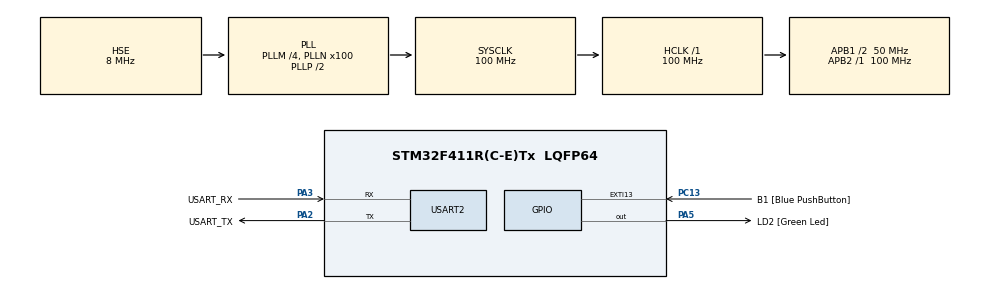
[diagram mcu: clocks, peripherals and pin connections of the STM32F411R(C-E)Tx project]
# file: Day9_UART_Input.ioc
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Mcu.Family=STM32F4
Mcu.Name=STM32F411R(C-E)Tx
Mcu.Package=LQFP64
NVIC.PriorityGroup=NVIC_PRIORITYGROUP_0
PA13.GPIO_Label=TMS
PA13.Mode=Serial_Wire
PA13.Signal=SYS_JTMS-SWDIO
PA14.GPIO_Label=TCK
PA14.Mode=Serial_Wire
PA14.Signal=SYS_JTCK-SWCLK
PA2.GPIO_Label=USART_TX
PA2.Mode=Asynchronous
PA2.Signal=USART2_TX
PA3.GPIO_Label=USART_RX
PA3.Mode=Asynchronous
PA3.Signal=USART2_RX
PA5.GPIO_Label=LD2 [Green Led]
PA5.Signal=GPIO_Output
PB3.GPIO_Label=SWO
PB3.Signal=SYS_JTDO-SWO
PC13-ANTI_TAMP.GPIO_Label=B1 [Blue PushButton]
PC13-ANTI_TAMP.GPIO_ModeDefaultEXTI=GPIO_MODE_IT_FALLING
PC13-ANTI_TAMP.Signal=GPXTI13
PC14-OSC32_IN.Mode=LSE-External-Oscillator
PC14-OSC32_IN.Signal=RCC_OSC32_IN
PC15-OSC32_OUT.Mode=LSE-External-Oscillator
PC15-OSC32_OUT.Signal=RCC_OSC32_OUT
PH0\ -\ OSC_IN.Mode=HSE-External-Clock-Source
PH0\ -\ OSC_IN.Signal=RCC_OSC_IN
PH1\ -\ OSC_OUT.Mode=HSE-External-Clock-Source
PH1\ -\ OSC_OUT.Signal=RCC_OSC_OUT
ProjectManager.HeapSize=0x200
ProjectManager.StackSize=0x400
ProjectManager.TargetToolchain=STM32CubeIDE
RCC.48MHZClocksFreq_Value=50000000
RCC.AHBFreq_Value=100000000
RCC.APB1CLKDivider=RCC_HCLK_DIV2
RCC.APB1Freq_Value=50000000
RCC.APB1TimFreq_Value=100000000
RCC.APB2Freq_Value=100000000
RCC.APB2TimFreq_Value=100000000
RCC.CortexFreq_Value=100000000
RCC.FLatency-AdvancedSettings=FLASH_LATENCY_3
RCC.HCLKFreq_Value=100000000
RCC.HSE_VALUE=8000000
RCC.HSI_VALUE=16000000
RCC.PLLM=4
RCC.PLLN=100
RCC.PLLSourceVirtual=RCC_PLLSOURCE_HSE
RCC.SYSCLKFreq_VALUE=100000000
RCC.SYSCLKSource=RCC_SYSCLKSOURCE_PLLCLK
RCC.VCOOutputFreq_Value=200000000
USART2.VirtualMode=VM_ASYNC
board=NUCLEO-F411RE

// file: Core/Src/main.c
/* USER CODE BEGIN Header */
/**
  ******************************************************************************
  * @file           : main.c
  * @brief          : Main program body
  ******************************************************************************
  * @attention
  *
  * Copyright (c) 2023 STMicroelectronics.
  * All rights reserved.
  *
  * This software is licensed under terms that can be found in the LICENSE file
  * in the root directory of this software component.
  * If no LICENSE file comes with this software, it is provided AS-IS.
  *
  ******************************************************************************
  */
/* USER CODE END Header */
#include "main.h"
#include <stdio.h>

UART_HandleTypeDef huart2;

void SystemClock_Config(void);
static void MX_GPIO_Init(void);
static void MX_USART2_UART_Init(void);
/* USER CODE BEGIN PFP */
int __io_putchar(int ch)
{
	HAL_UART_Transmit(&huart2, &ch, 1, 10);
	return ch;
}
int __io_getchar(void)
{
	int ch;
	while(1)
	{
		if(HAL_UART_Receive(&huart2, &ch, 1, 10) == HAL_OK)
		break;
	}
	if (ch == '\b' || ch == 0x7f)
	{
		HAL_UART_Transmit(&huart2, "\b \b", 3, 10); // \b \b : 총 세 글자이기때문에 3
	}
	else if(ch == '\n')
	{
		HAL_UART_Transmit(&huart2, "\r\n", 2, 10);
	}
	else HAL_UART_Transmit(&huart2, &ch, 1, 10);

	return ch;
}
/* USER CODE END PFP */

int main(void)
{

  /* MCU Configuration--------------------------------------------------------*/

  /* Reset of all peripherals, Initializes the Flash interface and the Systick. */
  HAL_Init();

  /* Configure the system clock */
  SystemClock_Config();

  /* Initialize all configured peripherals */
  MX_GPIO_Init();
  MX_USART2_UART_Init();
  /* USER CODE BEGIN 2 */
  printf("Program Start! \r\n");
  setbuf(stdin, NULL);
  /* USER CODE END 2 */

  /* Infinite loop */
  while (1)
  {

    /* USER CODE BEGIN 3 */
	int i;
	printf("Press numeric key and [Enter]....\r\n"); // 숫자 키를 입력하라고 프롬포트 내보내 줌.
	scanf("%d", &i);
	printf("You Pressed [%d] value.\r\n", i);
  }
  /* USER CODE END 3 */
}

void SystemClock_Config(void)
{
  RCC_OscInitTypeDef RCC_OscInitStruct = {0};
  RCC_ClkInitTypeDef RCC_ClkInitStruct = {0};

  /** Configure the main internal regulator output voltage
  */
  __HAL_RCC_PWR_CLK_ENABLE();
  __HAL_PWR_VOLTAGESCALING_CONFIG(PWR_REGULATOR_VOLTAGE_SCALE1);

  /** Initializes the RCC Oscillators according to the specified parameters
  * in the RCC_OscInitTypeDef structure.
  */
  RCC_OscInitStruct.OscillatorType = RCC_OSCILLATORTYPE_HSE;
  RCC_OscInitStruct.HSEState = RCC_HSE_BYPASS;
  RCC_OscInitStruct.PLL.PLLState = RCC_PLL_ON;
  RCC_OscInitStruct.PLL.PLLSource = RCC_PLLSOURCE_HSE;
  RCC_OscInitStruct.PLL.PLLM = 4;
  RCC_OscInitStruct.PLL.PLLN = 100;
  RCC_OscInitStruct.PLL.PLLP = RCC_PLLP_DIV2;
  RCC_OscInitStruct.PLL.PLLQ = 4;
  if (HAL_RCC_OscConfig(&RCC_OscInitStruct) != HAL_OK)
  {
    Error_Handler();
  }

  /** Initializes the CPU, AHB and APB buses clocks
  */
  RCC_ClkInitStruct.ClockType = RCC_CLOCKTYPE_HCLK|RCC_CLOCKTYPE_SYSCLK
                              |RCC_CLOCKTYPE_PCLK1|RCC_CLOCKTYPE_PCLK2;
  RCC_ClkInitStruct.SYSCLKSource = RCC_SYSCLKSOURCE_PLLCLK;
  RCC_ClkInitStruct.AHBCLKDivider = RCC_SYSCLK_DIV1;
  RCC_ClkInitStruct.APB1CLKDivider = RCC_HCLK_DIV2;
  RCC_ClkInitStruct.APB2CLKDivider = RCC_HCLK_DIV1;

  if (HAL_RCC_ClockConfig(&RCC_ClkInitStruct, FLASH_LATENCY_3) != HAL_OK)
  {
    Error_Handler();
  }
}

static void MX_USART2_UART_Init(void)
{

  huart2.Instance = USART2;
  huart2.Init.BaudRate = 115200;
  huart2.Init.WordLength = UART_WORDLENGTH_8B;
  huart2.Init.StopBits = UART_STOPBITS_1;
  huart2.Init.Parity = UART_PARITY_NONE;
  huart2.Init.Mode = UART_MODE_TX_RX;
  huart2.Init.HwFlowCtl = UART_HWCONTROL_NONE;
  huart2.Init.OverSampling = UART_OVERSAMPLING_16;
  if (HAL_UART_Init(&huart2) != HAL_OK)
  {
    Error_Handler();
  }

}

static void MX_GPIO_Init(void)
{
  GPIO_InitTypeDef GPIO_InitStruct = {0};

  /* GPIO Ports Clock Enable */
  __HAL_RCC_GPIOC_CLK_ENABLE();
  __HAL_RCC_GPIOH_CLK_ENABLE();
  __HAL_RCC_GPIOA_CLK_ENABLE();
  __HAL_RCC_GPIOB_CLK_ENABLE();

  /*Configure GPIO pin Output Level */
  HAL_GPIO_WritePin(LD2_GPIO_Port, LD2_Pin, GPIO_PIN_RESET);

  /*Configure GPIO pin : B1_Pin */
  GPIO_InitStruct.Pin = B1_Pin;
  GPIO_InitStruct.Mode = GPIO_MODE_IT_FALLING;
  GPIO_InitStruct.Pull = GPIO_NOPULL;
  HAL_GPIO_Init(B1_GPIO_Port, &GPIO_InitStruct);

  /*Configure GPIO pin : LD2_Pin */
  GPIO_InitStruct.Pin = LD2_Pin;
  GPIO_InitStruct.Mode = GPIO_MODE_OUTPUT_PP;
  GPIO_InitStruct.Pull = GPIO_NOPULL;
  GPIO_InitStruct.Speed = GPIO_SPEED_FREQ_LOW;
  HAL_GPIO_Init(LD2_GPIO_Port, &GPIO_InitStruct);

}

void Error_Handler(void)
{
  __disable_irq();
  while (1)
  {
  }
}
